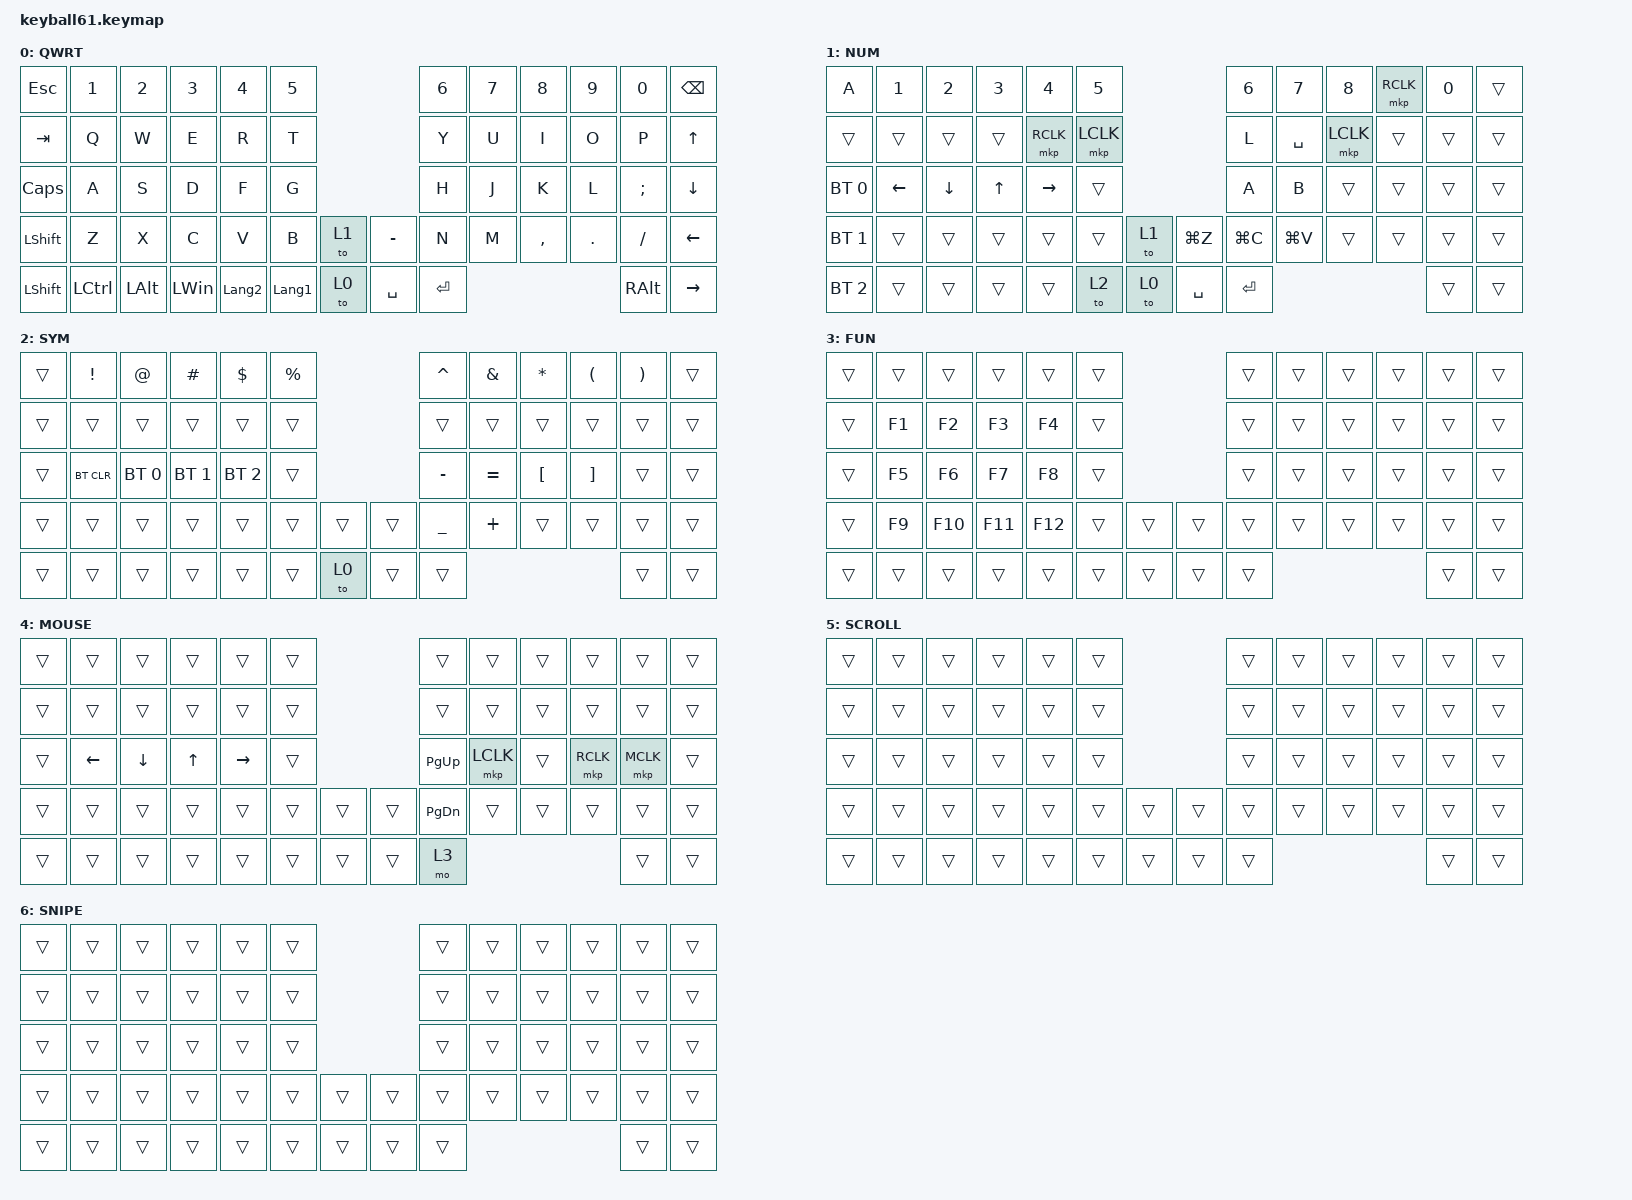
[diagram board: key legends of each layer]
#define DEFAULT 0
#define SYM     1
#define FUN     2
#define MOUSE   3
#define SCROLL  4
#define SNIPE   5

#include <behaviors/mouse_keys.dtsi>
#include <behaviors.dtsi>
#include <dt-bindings/zmk/bt.h>
#include <dt-bindings/zmk/keys.h>
#include <dt-bindings/zmk/mouse.h>

&lt {
    tapping-term-ms = <240>;
    flavor = "balanced";
    quick-tap-ms = <150>;
};

&mt {
    tapping-term-ms = <200>;
    flavor = "tap-preferred";
    quick-tap-ms = <150>;
};

/ {
    keymap {
        compatible = "zmk,keymap";

        default_layer {
            label = "QWRT";
            bindings = <
&kp ESC         &kp N1     &kp N2        &kp N3        &kp N4          &kp N5                            &kp N6     &kp N7  &kp N8     &kp N9   &kp N0         &kp BSPC
&kp TAB         &kp Q      &kp W         &kp E         &kp R           &kp T                             &kp Y      &kp U   &kp I      &kp O    &kp P          &kp UP
&kp CAPS        &kp A      &kp S         &kp D         &kp F           &kp G                             &kp H      &kp J   &kp K      &kp L    &kp SEMI       &kp DOWN
&kp LEFT_SHIFT  &kp Z      &kp X         &kp C         &kp V           &kp B           &to 1  &kp MINUS  &kp N      &kp M   &kp COMMA  &kp DOT  &kp FSLH       &kp LEFT
&kp LEFT_SHIFT  &kp LCTRL  &kp LEFT_ALT  &kp LEFT_WIN  &kp LANGUAGE_2  &kp LANGUAGE_1  &to 0  &kp SPACE  &kp ENTER                              &kp RIGHT_ALT  &kp RIGHT
            >;
        };

        number_layer {
            bindings = <
&kp A         &kp N1    &kp N2    &kp N3  &kp N4     &kp N5                       &kp N6     &kp N7     &kp N8     &mkp RCLK  &kp N0  &trans
&trans        &trans    &trans    &trans  &mkp RCLK  &mkp LCLK                    &kp L      &kp SPACE  &mkp LCLK  &trans     &trans  &trans
&bt BT_SEL 0  &kp LEFT  &kp DOWN  &kp UP  &kp RIGHT  &trans                       &kp A      &kp B      &trans     &trans     &trans  &trans
&bt BT_SEL 1  &trans    &trans    &trans  &trans     &trans     &to 1  &kp LG(Z)  &kp LG(C)  &kp LG(V)  &trans     &trans     &trans  &trans
&bt BT_SEL 2  &trans    &trans    &trans  &trans     &to 2      &to 0  &kp SPACE  &kp ENTER                                   &trans  &trans
            >;

            label = "NUM";
        };

        symbol_layer {
            label = "SYM";
            bindings = <
&trans  &kp EXCLAMATION  &kp AT_SIGN   &kp HASH      &kp DOLLAR    &kp PERCENT                  &kp CARET       &kp AMPERSAND  &kp ASTERISK      &kp LEFT_PARENTHESIS  &kp RIGHT_PARENTHESIS  &trans
&trans  &trans           &trans        &trans        &trans        &trans                       &trans          &trans         &trans            &trans                &trans                 &trans
&trans  &bt BT_CLR       &bt BT_SEL 0  &bt BT_SEL 1  &bt BT_SEL 2  &trans                       &kp MINUS       &kp EQUAL      &kp LEFT_BRACKET  &kp RIGHT_BRACKET     &trans                 &trans
&trans  &trans           &trans        &trans        &trans        &trans       &trans  &trans  &kp UNDERSCORE  &kp PLUS       &trans            &trans                &trans                 &trans
&trans  &trans           &trans        &trans        &trans        &trans       &to 0   &trans  &trans                                                                 &trans                 &trans
            >;
        };

        function_layer {
            label = "FUN";
            bindings = <
&trans  &trans  &trans   &trans   &trans   &trans                  &trans  &trans  &trans  &trans  &trans  &trans
&trans  &kp F1  &kp F2   &kp F3   &kp F4   &trans                  &trans  &trans  &trans  &trans  &trans  &trans
&trans  &kp F5  &kp F6   &kp F7   &kp F8   &trans                  &trans  &trans  &trans  &trans  &trans  &trans
&trans  &kp F9  &kp F10  &kp F11  &kp F12  &trans  &trans  &trans  &trans  &trans  &trans  &trans  &trans  &trans
&trans  &trans  &trans   &trans   &trans   &trans  &trans  &trans  &trans                          &trans  &trans
            >;
        };

        mouse_layer {
            label = "MOUSE";
            bindings = <
&trans  &trans    &trans    &trans  &trans     &trans                  &trans         &trans     &trans  &trans     &trans     &trans
&trans  &trans    &trans    &trans  &trans     &trans                  &trans         &trans     &trans  &trans     &trans     &trans
&trans  &kp LEFT  &kp DOWN  &kp UP  &kp RIGHT  &trans                  &kp PAGE_UP    &mkp LCLK  &trans  &mkp RCLK  &mkp MCLK  &trans
&trans  &trans    &trans    &trans  &trans     &trans  &trans  &trans  &kp PAGE_DOWN  &trans     &trans  &trans     &trans     &trans
&trans  &trans    &trans    &trans  &trans     &trans  &trans  &trans  &mo 3                                        &trans     &trans
            >;
        };

        scroll_layer {
            label = "SCROLL";
            bindings = <
&trans  &trans  &trans  &trans  &trans  &trans                  &trans  &trans  &trans  &trans  &trans  &trans
&trans  &trans  &trans  &trans  &trans  &trans                  &trans  &trans  &trans  &trans  &trans  &trans
&trans  &trans  &trans  &trans  &trans  &trans                  &trans  &trans  &trans  &trans  &trans  &trans
&trans  &trans  &trans  &trans  &trans  &trans  &trans  &trans  &trans  &trans  &trans  &trans  &trans  &trans
&trans  &trans  &trans  &trans  &trans  &trans  &trans  &trans  &trans                          &trans  &trans
            >;
        };

        snipe_layer {
            label = "SNIPE";
            bindings = <
&trans  &trans  &trans  &trans  &trans  &trans                  &trans  &trans  &trans  &trans  &trans  &trans
&trans  &trans  &trans  &trans  &trans  &trans                  &trans  &trans  &trans  &trans  &trans  &trans
&trans  &trans  &trans  &trans  &trans  &trans                  &trans  &trans  &trans  &trans  &trans  &trans
&trans  &trans  &trans  &trans  &trans  &trans  &trans  &trans  &trans  &trans  &trans  &trans  &trans  &trans
&trans  &trans  &trans  &trans  &trans  &trans  &trans  &trans  &trans                          &trans  &trans
            >;
        };
    };
};
